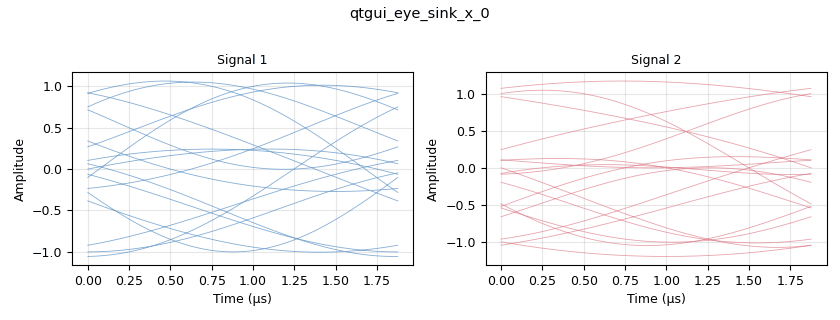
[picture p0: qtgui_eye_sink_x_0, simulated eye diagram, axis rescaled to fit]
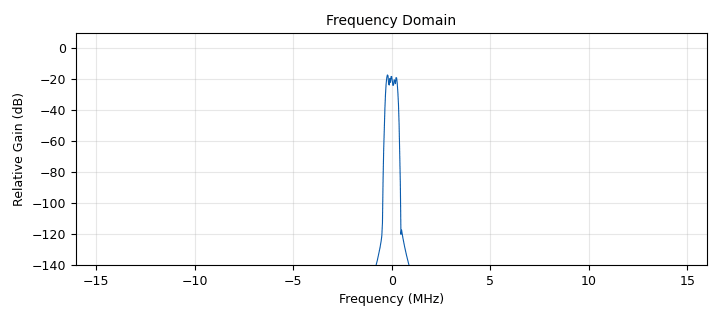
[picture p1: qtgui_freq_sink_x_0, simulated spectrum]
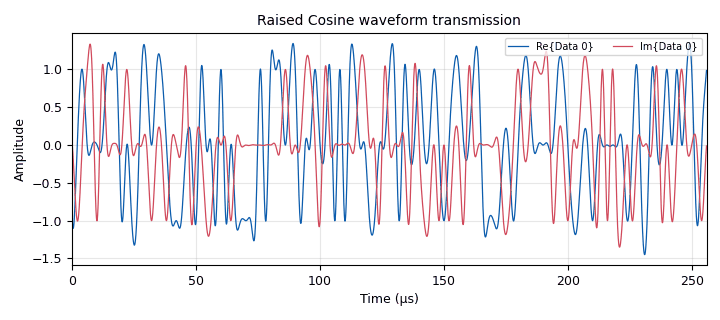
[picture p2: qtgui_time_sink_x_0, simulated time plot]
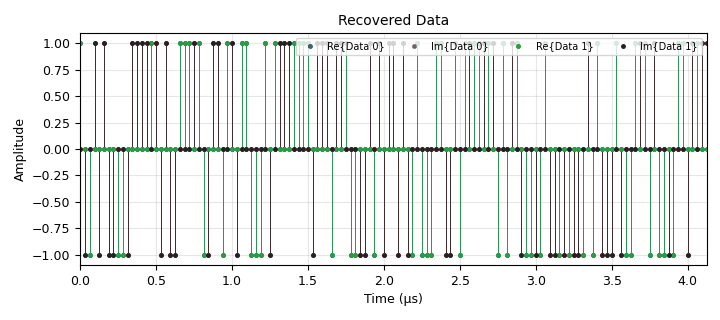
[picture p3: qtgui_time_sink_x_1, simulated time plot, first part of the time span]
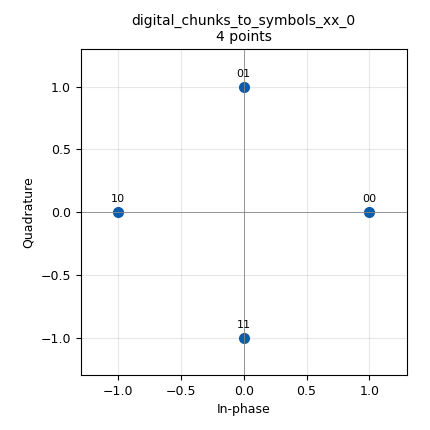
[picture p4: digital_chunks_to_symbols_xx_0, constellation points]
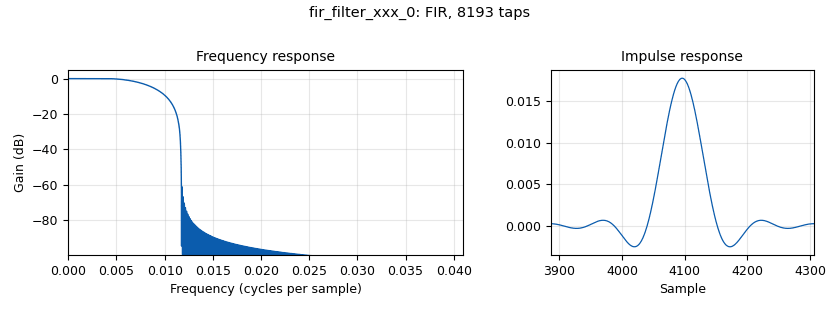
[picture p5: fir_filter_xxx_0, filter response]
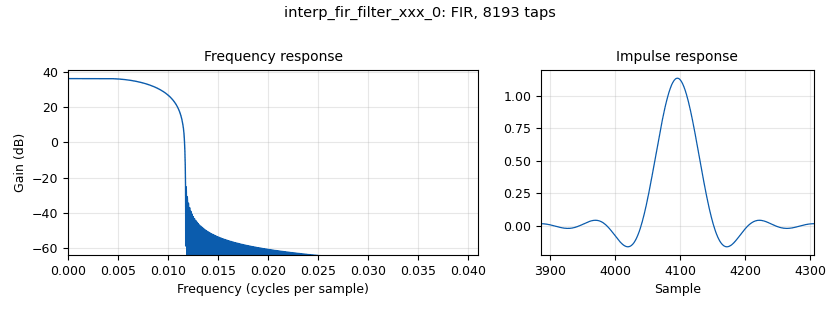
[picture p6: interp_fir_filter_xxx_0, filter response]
options:
  parameters:
    author: Akash Shaw | Ansul Jain
    generate_options: qt_gui
    id: RC
    output_language: python
    title: RC
  states: {}

blocks:
- name: EB
  id: variable
  parameters:
    value: '0.5'
  states: {}
- name: N
  id: variable
  parameters:
    value: '4'
  states: {}
- name: bit_rate
  id: variable
  parameters:
    value: '500000'
  states: {}
- name: rrc_taps
  id: variable
  parameters:
    value: numpy.array(firdes.root_raised_cosine(samp_rate//bit_rate,samp_rate,bit_rate,EB,8192))
  states: {}
- name: samp_rate
  id: variable
  parameters:
    value: bit_rate*64
  states: {}
- name: analog_random_source_x_0
  id: analog_random_source_x
  parameters:
    max: N
    min: '0'
    num_samps: '1024'
    repeat: 'True'
    type: int
  states: {}
- name: blocks_delay_0
  id: blocks_delay
  parameters:
    delay: '128'
    type: complex
  states: {}
- name: digital_chunks_to_symbols_xx_0
  id: digital_chunks_to_symbols_xx
  parameters:
    dimension: '1'
    in_type: int
    out_type: complex
    symbol_table: numpy.exp(1j*2*numpy.pi*numpy.arange(N)/N)
  states: {}
- name: fir_filter_xxx_0
  id: fir_filter_xxx
  parameters:
    decim: samp_rate//bit_rate
    taps: rrc_taps/(samp_rate//bit_rate)
    type: ccf
  states: {}
- name: import_0
  id: import
  parameters:
    imports: import numpy
  states: {}
- name: interp_fir_filter_xxx_0
  id: interp_fir_filter_xxx
  parameters:
    interp: samp_rate//bit_rate
    taps: rrc_taps
    type: ccf
  states: {}
- name: interp_fir_filter_xxx_0_0
  id: interp_fir_filter_xxx
  parameters:
    interp: '1'
    taps: rrc_taps/(samp_rate//bit_rate)
    type: ccf
  states: {}
- name: qtgui_eye_sink_x_0
  id: qtgui_eye_sink_x
  parameters:
    samp_per_symbol: '30'
    size: '1024'
    srate: samp_rate
    type: complex
    yunit: ''
  states: {}
- name: qtgui_freq_sink_x_0
  id: qtgui_freq_sink_x
  parameters:
    bw: samp_rate
    fc: '0'
    fftsize: '1024'
    name: 'Frequency Domain '
    type: complex
  states: {}
- name: qtgui_time_sink_x_0
  id: qtgui_time_sink_x
  parameters:
    autoscale: 'True'
    color1: dark blue
    grid: 'True'
    name: Raised Cosine waveform transmission
    size: '8192'
    srate: samp_rate
    type: complex
  states: {}
- name: qtgui_time_sink_x_1
  id: qtgui_time_sink_x
  parameters:
    autoscale: 'True'
    name: Recovered Data
    nconnections: '2'
    size: '1024'
    srate: samp_rate
    stemplot: 'True'
    type: complex
  states: {}

connections:
- [analog_random_source_x_0, '0', digital_chunks_to_symbols_xx_0, '0']
- [blocks_delay_0, '0', qtgui_time_sink_x_1, '1']
- [digital_chunks_to_symbols_xx_0, '0', blocks_delay_0, '0']
- [digital_chunks_to_symbols_xx_0, '0', interp_fir_filter_xxx_0, '0']
- [fir_filter_xxx_0, '0', qtgui_time_sink_x_1, '0']
- [interp_fir_filter_xxx_0, '0', fir_filter_xxx_0, '0']
- [interp_fir_filter_xxx_0, '0', interp_fir_filter_xxx_0_0, '0']
- [interp_fir_filter_xxx_0_0, '0', qtgui_eye_sink_x_0, '0']
- [interp_fir_filter_xxx_0_0, '0', qtgui_freq_sink_x_0, '0']
- [interp_fir_filter_xxx_0_0, '0', qtgui_time_sink_x_0, '0']

metadata:
  file_format: 1
  grc_version: 3.10.10.0
